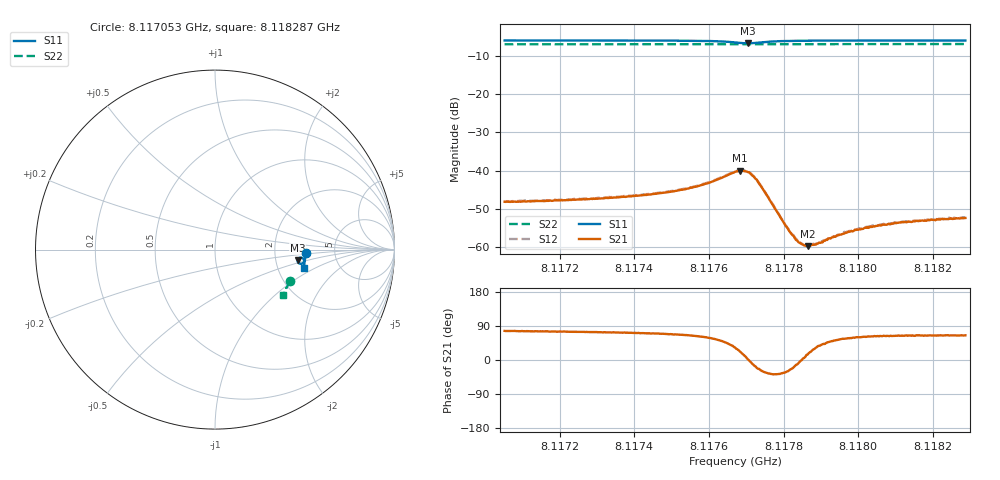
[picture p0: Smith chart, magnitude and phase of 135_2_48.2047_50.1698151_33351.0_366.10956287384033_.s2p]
#  HZ  S  RI  R  50.00
! Rohde & Schwarz Vector Network Analyzer
! Rohde-Schwarz,ZNB20-2Port,1311601062101988,3.16
! Created: UTC 3/20/2024, 11:42:04 AM
! freq[Hz]  re:S11  im:S11  re:S21  im:S21  re:S12  im:S12  re:S22  im:S22
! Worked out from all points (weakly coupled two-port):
!   401 points, 8.117053 GHz to 8.118287 GHz, reference 50 ohm
!   highest |S21| = -39.98 dB at 8.117682 GHz (marker M1); lowest = -59.8 dB at 8.117864 GHz (marker M2)
!   lowest |S11| = -6.7 dB at 8.117704 GHz (marker M3), VSWR 2.73, Z = 133 - j20.3 ohm
!   |S11| at or under -10 dB: nowhere
!   |S22| runs from -6.9 to -6.8 dB; largest |S21 - S12| = 0.00036
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8.1170526e9  0.5056 -0.021  0.00089 0.00381  0.000939 0.00382  0.4162 -0.1731
8.1172594e9  0.504 -0.038  0.00114 0.00404  0.00121 0.00411  0.4111 -0.1865
8.1173612e9  0.503 -0.0467  0.00138 0.00426  0.00143 0.00431  0.4084 -0.1931
8.1174661e9  0.5007 -0.0567  0.00173 0.00472  0.00183 0.00479  0.4055 -0.1999
8.117568e9  0.4958 -0.0688  0.00283 0.00554  0.00292 0.00562  0.4023 -0.2066
8.1176081e9  0.4909 -0.0747  0.00392 0.006  0.00404 0.0061  0.4008 -0.2092
8.1176698e9  0.4707 -0.0782  0.00811 0.00524  0.00826 0.00518  0.3981 -0.2129
8.1176822e9  0.4648 -0.0741  0.00921 0.00397  0.00936 0.00389  0.3975 -0.2132
8.1177038e9  0.4601 -0.06  0.00958 0.000384  0.00974 0.000329  0.3968 -0.2138
8.1177192e9  0.465 -0.0499  0.00825 -0.00181  0.00833 -0.00185  0.3968 -0.2145
8.1177346e9  0.4736 -0.0451  0.00616 -0.00268  0.00625 -0.00289  0.3968 -0.2152
8.1178056e9  0.4948 -0.0552  0.0016 -0.00101  0.00159 -0.00105  0.3954 -0.2202
8.1178272e9  0.4965 -0.059  0.00131 -0.00045  0.00133 -0.000484  0.3949 -0.2215
8.1178395e9  0.4972 -0.0611  0.00114 -0.000174  0.00118 -0.000165  0.3945 -0.2224
8.1178519e9  0.4977 -0.0631  0.00107 7.87e-05  0.00107 5.92e-05  0.3942 -0.2232
8.1178642e9  0.498 -0.065  0.000994 0.000254  0.00101 0.000265  0.3937 -0.2241
8.1178766e9  0.4981 -0.0666  0.000965 0.00046  0.000987 0.000438  0.3933 -0.2247
8.1179815e9  0.4982 -0.0785  0.000869 0.00138  0.000868 0.0014  0.3899 -0.2315
8.118034e9  0.4977 -0.0834  0.000855 0.00163  0.000898 0.00163  0.3881 -0.2348
8.1180833e9  0.4971 -0.0879  0.000904 0.00177  0.000924 0.00181  0.3865 -0.2379
8.1181913e9  0.4956 -0.0968  0.000949 0.00203  0.000993 0.00205  0.3826 -0.2445
8.118287e9  0.494 -0.1045  0.00101 0.00218  0.00106 0.00222  0.3793 -0.2504
